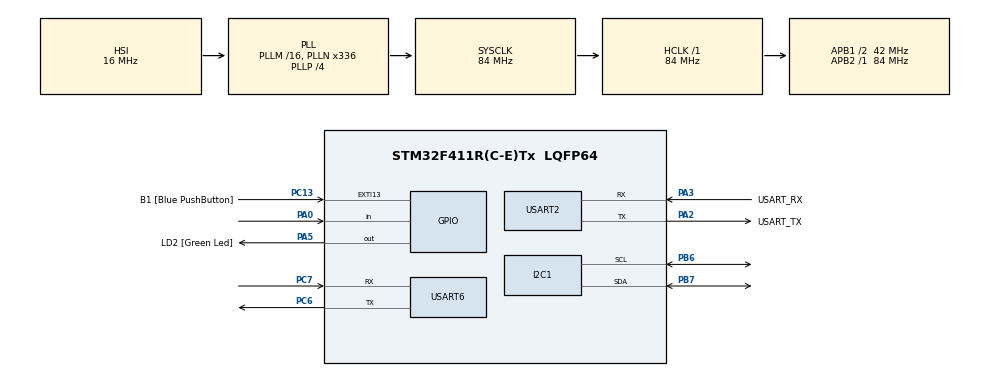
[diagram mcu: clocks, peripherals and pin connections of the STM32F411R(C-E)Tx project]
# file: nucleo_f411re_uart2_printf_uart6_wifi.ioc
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Mcu.Family=STM32F4
Mcu.Name=STM32F411R(C-E)Tx
Mcu.Package=LQFP64
NVIC.I2C1_ER_IRQn=true\:0\:0\:false\:false\:true\:true\:true\:true
NVIC.I2C1_EV_IRQn=true\:0\:0\:false\:false\:true\:true\:true\:true
NVIC.PriorityGroup=NVIC_PRIORITYGROUP_0
NVIC.USART2_IRQn=true\:0\:0\:false\:false\:true\:true\:true\:true
NVIC.USART6_IRQn=true\:0\:0\:false\:false\:true\:true\:true\:true
PA0-WKUP.GPIO_PuPd=GPIO_PULLDOWN
PA0-WKUP.Signal=GPIO_Input
PA13.GPIO_Label=TMS
PA13.Mode=Serial_Wire
PA13.Signal=SYS_JTMS-SWDIO
PA14.GPIO_Label=TCK
PA14.Mode=Serial_Wire
PA14.Signal=SYS_JTCK-SWCLK
PA2.GPIO_Label=USART_TX
PA2.Mode=Asynchronous
PA2.Signal=USART2_TX
PA3.GPIO_Label=USART_RX
PA3.Mode=Asynchronous
PA3.Signal=USART2_RX
PA5.GPIO_Label=LD2 [Green Led]
PA5.Signal=GPIO_Output
PB3.GPIO_Label=SWO
PB3.Signal=SYS_JTDO-SWO
PB6.GPIO_Pu=GPIO_PULLUP
PB6.Mode=I2C
PB6.Signal=I2C1_SCL
PB7.GPIO_Pu=GPIO_PULLUP
PB7.Mode=I2C
PB7.Signal=I2C1_SDA
PC13-ANTI_TAMP.GPIO_Label=B1 [Blue PushButton]
PC13-ANTI_TAMP.GPIO_ModeDefaultEXTI=GPIO_MODE_IT_FALLING
PC13-ANTI_TAMP.Signal=GPXTI13
PC14-OSC32_IN.Mode=LSE-External-Oscillator
PC14-OSC32_IN.Signal=RCC_OSC32_IN
PC15-OSC32_OUT.Mode=LSE-External-Oscillator
PC15-OSC32_OUT.Signal=RCC_OSC32_OUT
PC6.Mode=Asynchronous
PC6.Signal=USART6_TX
PC7.Mode=Asynchronous
PC7.Signal=USART6_RX
PH0\ -\ OSC_IN.Mode=HSE-External-Clock-Source
PH0\ -\ OSC_IN.Signal=RCC_OSC_IN
PH1\ -\ OSC_OUT.Mode=HSE-External-Clock-Source
PH1\ -\ OSC_OUT.Signal=RCC_OSC_OUT
ProjectManager.HeapSize=0x200
ProjectManager.StackSize=0x400
ProjectManager.TargetToolchain=STM32CubeIDE
RCC.48MHZClocksFreq_Value=84000000
RCC.AHBFreq_Value=84000000
RCC.APB1CLKDivider=RCC_HCLK_DIV2
RCC.APB1Freq_Value=42000000
RCC.APB1TimFreq_Value=84000000
RCC.APB2Freq_Value=84000000
RCC.APB2TimFreq_Value=84000000
RCC.CortexFreq_Value=84000000
RCC.FLatency-AdvancedSettings=FLASH_LATENCY_2
RCC.HCLKFreq_Value=84000000
RCC.HSE_VALUE=8000000
RCC.HSI_VALUE=16000000
RCC.PLLN=336
RCC.PLLP=RCC_PLLP_DIV4
RCC.SYSCLKFreq_VALUE=84000000
RCC.SYSCLKSource=RCC_SYSCLKSOURCE_PLLCLK
RCC.VCOOutputFreq_Value=336000000
USART2.VirtualMode=VM_ASYNC
USART6.VirtualMode=VM_ASYNC
board=NUCLEO-F411RE

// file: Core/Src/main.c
#include "main.h"
#include "esp.h"
#include "lc_i2c.h"
#include <stdio.h>
#include <string.h>

#ifdef __GNUC__
#define PUTCHAR_PROTOTYPE int __io_putchar(int ch)
#else
#define PUTCHAR_PROTOTYPE int fputc(int ch, FILE *f)
#endif /* __GNUC__ */
#define ARR_CNT 5
#define CMD_SIZE 50

/* USER CODE END PD */

I2C_HandleTypeDef hi2c1;

extern UART_HandleTypeDef huart2;
extern UART_HandleTypeDef huart6;

/* USER CODE BEGIN PV */
uint8_t rx6Data[128];
uint8_t rx6Flag = 0;
uint8_t rx2char;
extern cb_data_t cb_data;
extern volatile unsigned char rx2Flag;
extern volatile char rx2Data[50];
/* USER CODE END PV */

void SystemClock_Config(void);
static void MX_GPIO_Init(void);
static void MX_USART2_UART_Init(void);
static void MX_USART6_UART_Init(void);
static void MX_I2C1_Init(void);
/* USER CODE BEGIN PFP */
char strBuff[MAX_ESP_COMMAND_LEN];
void MX_GPIO_LED_ON(int flag);
void MX_GPIO_LED_OFF(int flag);
/* USER CODE END PFP */

int main(void)
{
  /* USER CODE BEGIN 1 */
  int ret = 0;
  /* USER CODE END 1 */

  /* MCU Configuration--------------------------------------------------------*/
  HAL_Init();
  SystemClock_Config();

  /* Configure the system clock */
  SystemClock_Config();

  /* Initialize all configured peripherals */
  MX_GPIO_Init();
  MX_USART2_UART_Init();
  MX_USART6_UART_Init();
  MX_I2C1_Init();
  LCD_Init();
  /* USER CODE BEGIN 2 */
  ret |= drv_uart_init();
  ret |= drv_esp_init();
  if (ret != 0) Error_Handler();
  printf("Start main() \r\n");
  AiotClient_Init();
  /* USER CODE END 2 */

  /* Infinite loop */
  /* USER CODE BEGIN WHILE */
  HAL_UART_Receive_IT(&huart6, rx6Data, sizeof(rx6Data));

  while (1)
  {
    /* USER CODE END WHILE */
    if (strstr((char *)cb_data.buf, "+IPD") && cb_data.buf[cb_data.length - 1] == '\n')
    {
      // 수신 포맷 \r\n+IPD,15:[KSH_LIN]HELLO\n
      strcpy(strBuff, strchr((char *)cb_data.buf, '['));
      memset(cb_data.buf, 0x0, sizeof(cb_data.buf));
      cb_data.length = 0;
      esp_event(strBuff);
    }
    if (rx2Flag)
    {
      printf("recv2 : %s\r\n", rx2Data);
      rx2Flag = 0;
    }
    if (HAL_GPIO_ReadPin(GPIOA, GPIO_PIN_0) == GPIO_PIN_SET)
    {
      char msg[] = "[ALLMSG]MOVE@ON\r\n";
      esp_send_data(msg);  // WiFi를 통해 서버로 메시지 전송
      HAL_Delay(10000);     // 10초 대기 (연속 감지 방지)
    }
    HAL_Delay(100);
  }
}

void SystemClock_Config(void)
{
  RCC_OscInitTypeDef RCC_OscInitStruct = {0};
  RCC_ClkInitTypeDef RCC_ClkInitStruct = {0};

  /** Configure the main internal regulator output voltage
  */
  __HAL_RCC_PWR_CLK_ENABLE();
  __HAL_PWR_VOLTAGESCALING_CONFIG(PWR_REGULATOR_VOLTAGE_SCALE1);

  /** Initializes the RCC Oscillators according to the specified parameters
  * in the RCC_OscInitTypeDef structure.
  */
  RCC_OscInitStruct.OscillatorType = RCC_OSCILLATORTYPE_HSI;
  RCC_OscInitStruct.HSIState = RCC_HSI_ON;
  RCC_OscInitStruct.HSICalibrationValue = RCC_HSICALIBRATION_DEFAULT;
  RCC_OscInitStruct.PLL.PLLState = RCC_PLL_ON;
  RCC_OscInitStruct.PLL.PLLSource = RCC_PLLSOURCE_HSI;
  RCC_OscInitStruct.PLL.PLLM = 16;
  RCC_OscInitStruct.PLL.PLLN = 336;
  RCC_OscInitStruct.PLL.PLLP = RCC_PLLP_DIV4;
  RCC_OscInitStruct.PLL.PLLQ = 4;
  if (HAL_RCC_OscConfig(&RCC_OscInitStruct) != HAL_OK)
  {
    Error_Handler();
  }

  /** Initializes the CPU, AHB and APB buses clocks
  */
  RCC_ClkInitStruct.ClockType = RCC_CLOCKTYPE_HCLK | RCC_CLOCKTYPE_SYSCLK | RCC_CLOCKTYPE_PCLK1 | RCC_CLOCKTYPE_PCLK2;
  RCC_ClkInitStruct.SYSCLKSource = RCC_SYSCLKSOURCE_PLLCLK;
  RCC_ClkInitStruct.AHBCLKDivider = RCC_SYSCLK_DIV1;
  RCC_ClkInitStruct.APB1CLKDivider = RCC_HCLK_DIV2;
  RCC_ClkInitStruct.APB2CLKDivider = RCC_HCLK_DIV1;

  if (HAL_RCC_ClockConfig(&RCC_ClkInitStruct, FLASH_LATENCY_2) != HAL_OK)
  {
    Error_Handler();
  }
}

static void MX_I2C1_Init(void)
{
  hi2c1.Instance = I2C1;
  hi2c1.Init.ClockSpeed = 100000;
  hi2c1.Init.DutyCycle = I2C_DUTYCYCLE_2;
  hi2c1.Init.OwnAddress1 = 0;
  hi2c1.Init.AddressingMode = I2C_ADDRESSINGMODE_7BIT;
  hi2c1.Init.DualAddressMode = I2C_DUALADDRESS_DISABLE;
  hi2c1.Init.OwnAddress2 = 0;
  hi2c1.Init.GeneralCallMode = I2C_GENERALCALL_DISABLE;
  hi2c1.Init.NoStretchMode = I2C_NOSTRETCH_DISABLE;
  if (HAL_I2C_Init(&hi2c1) != HAL_OK)
  {
    Error_Handler();
  }
}

static void MX_USART2_UART_Init(void)
{
  huart2.Instance = USART2;
  huart2.Init.BaudRate = 115200;
  huart2.Init.WordLength = UART_WORDLENGTH_8B;
  huart2.Init.StopBits = UART_STOPBITS_1;
  huart2.Init.Parity = UART_PARITY_NONE;
  huart2.Init.Mode = UART_MODE_TX_RX;
  huart2.Init.HwFlowCtl = UART_HWCONTROL_NONE;
  huart2.Init.OverSampling = UART_OVERSAMPLING_16;
  if (HAL_UART_Init(&huart2) != HAL_OK)
  {
    Error_Handler();
  }
}

static void MX_USART6_UART_Init(void)
{
  huart6.Instance = USART6;
  huart6.Init.BaudRate = 115200;
  huart6.Init.WordLength = UART_WORDLENGTH_8B;
  huart6.Init.StopBits = UART_STOPBITS_1;
  huart6.Init.Parity = UART_PARITY_NONE;
  huart6.Init.Mode = UART_MODE_TX_RX;
  huart6.Init.HwFlowCtl = UART_HWCONTROL_NONE;
  huart6.Init.OverSampling = UART_OVERSAMPLING_16;
  if (HAL_UART_Init(&huart6) != HAL_OK)
  {
    Error_Handler();
  }
}

static void MX_GPIO_Init(void)
{
  GPIO_InitTypeDef GPIO_InitStruct = {0};

  /* GPIO Ports Clock Enable */
  __HAL_RCC_GPIOC_CLK_ENABLE();
  __HAL_RCC_GPIOH_CLK_ENABLE();
  __HAL_RCC_GPIOA_CLK_ENABLE();
  __HAL_RCC_GPIOB_CLK_ENABLE();

  /*Configure GPIO pin Output Level */
  HAL_GPIO_WritePin(LD2_GPIO_Port, LD2_Pin, GPIO_PIN_RESET);

  /*Configure GPIO pin : B1_Pin */
  GPIO_InitStruct.Pin = B1_Pin;
  GPIO_InitStruct.Mode = GPIO_MODE_IT_FALLING;
  GPIO_InitStruct.Pull = GPIO_NOPULL;
  HAL_GPIO_Init(B1_GPIO_Port, &GPIO_InitStruct);

  /*Configure GPIO pin : PA0 */
  GPIO_InitStruct.Pin = GPIO_PIN_0;
  GPIO_InitStruct.Mode = GPIO_MODE_INPUT;
  GPIO_InitStruct.Pull = GPIO_PULLDOWN;
  HAL_GPIO_Init(GPIOA, &GPIO_InitStruct);

  /*Configure GPIO pin : LD2_Pin */
  GPIO_InitStruct.Pin = LD2_Pin;
  GPIO_InitStruct.Mode = GPIO_MODE_OUTPUT_PP;
  GPIO_InitStruct.Pull = GPIO_NOPULL;
  GPIO_InitStruct.Speed = GPIO_SPEED_FREQ_LOW;
  HAL_GPIO_Init(LD2_GPIO_Port, &GPIO_InitStruct);
}

/* USER CODE BEGIN 4 */
void MX_GPIO_LED_ON(int pin)
{
  HAL_GPIO_WritePin(LD2_GPIO_Port, pin, GPIO_PIN_SET);
}
void MX_GPIO_LED_OFF(int pin)
{
  HAL_GPIO_WritePin(LD2_GPIO_Port, pin, GPIO_PIN_RESET);
}
/* USER CODE END 4 */

void Error_Handler(void)
{
  __disable_irq();
  while (1)
  {
  }
}
